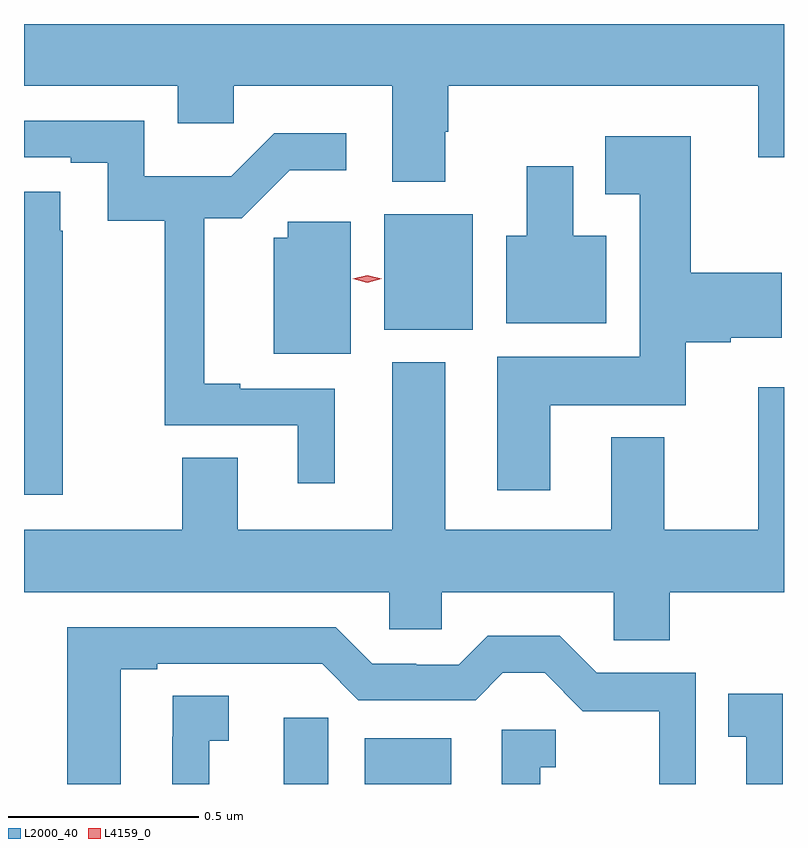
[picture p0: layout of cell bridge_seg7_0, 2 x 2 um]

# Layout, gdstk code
import gdstk
lib = gdstk.Library(unit=1e-6, precision=1e-09)
def R(c, l, rs):  # rectangles x0, y0, x1, y1
    for r in rs: c.add(gdstk.rectangle(r[:2], r[2:], *l))
def P(c, l, *ps):  # polygons
    for p in ps: c.add(gdstk.Polygon(p, *l))
L2000_40 = (2000, 40)
L4159_0 = (4159, 0)

bridge_seg7_0 = lib.new_cell('bridge_seg7_0')
R(bridge_seg7_0, L2000_40, [(1098.824,1038.739,1098.94,1038.913), (1099.037,1038.739,1099.264,1038.859), (1099.088,1039.934,1099.321,1040.239)])
P(bridge_seg7_0, L2000_40, [(1099.249,1040.456),(1099.257,1040.456),(1099.257,1040.576),(1100.072,1040.576),(1100.072,1040.388),(1100.14,1040.388),(1100.14,1040.739),(1098.14,1040.739),(1098.14,1040.576),(1098.545,1040.576),(1098.545,1040.478),(1098.692,1040.478),(1098.692,1040.576),(1099.109,1040.576),(1099.109,1040.324),(1099.249,1040.324)],
  [(1098.958,1039.779),(1098.709,1039.779),(1098.709,1039.792),(1098.614,1039.792),(1098.614,1040.228),(1098.713,1040.228),(1098.839,1040.354),(1098.988,1040.354),(1098.988,1040.451),(1098.798,1040.451),(1098.685,1040.338),(1098.456,1040.338),(1098.456,1040.484),(1098.14,1040.484),(1098.14,1040.388),(1098.263,1040.388),(1098.263,1040.374),(1098.36,1040.374),(1098.36,1040.221),(1098.511,1040.221),(1098.511,1039.683),(1098.86,1039.683),(1098.86,1039.53),(1098.958,1039.53)],
  [(1099.525,1039.736),(1099.882,1039.736),(1099.882,1039.901),(1100,1039.901),(1100,1039.913),(1100.134,1039.913),(1100.134,1040.084),(1099.895,1040.084),(1099.895,1040.443),(1099.67,1040.443),(1099.67,1040.291),(1099.76,1040.291),(1099.76,1039.864),(1099.385,1039.864),(1099.385,1039.512),(1099.525,1039.512)],
  [(1099.672,1040.182),(1099.585,1040.182),(1099.585,1040.365),(1099.463,1040.365),(1099.463,1040.182),(1099.409,1040.182),(1099.409,1039.952),(1099.672,1039.952)],
  [(1098.242,1040.195),(1098.236,1040.195),(1098.236,1040.297),(1098.14,1040.297),(1098.14,1039.5),(1098.242,1039.5)],
  [(1099,1040.218),(1098.834,1040.218),(1098.834,1040.176),(1098.797,1040.176),(1098.797,1039.871),(1099,1039.871)],
  [(1099.839,1039.244),(1100.14,1039.244),(1100.14,1039.783),(1100.072,1039.783),(1100.072,1039.408),(1099.825,1039.408),(1099.825,1039.651),(1099.685,1039.651),(1099.685,1039.408),(1099.249,1039.408),(1099.249,1039.849),(1099.109,1039.849),(1099.109,1039.408),(1098.703,1039.408),(1098.703,1039.598),(1098.556,1039.598),(1098.556,1039.408),(1098.14,1039.408),(1098.14,1039.244),(1099.101,1039.244),(1099.101,1039.146),(1099.239,1039.146),(1099.239,1039.244),(1099.692,1039.244),(1099.692,1039.117),(1099.839,1039.117)],
  [(1098.394,1039.041),(1098.49,1039.041),(1098.49,1039.056),(1098.821,1039.056),(1098.821,1039.055),(1098.925,1039.055),(1099.02,1038.96),(1099.329,1038.96),(1099.4,1039.032),(1099.51,1039.032),(1099.61,1038.931),(1099.812,1038.931),(1099.812,1038.739),(1099.908,1038.739),(1099.908,1039.032),(1099.647,1039.032),(1099.55,1039.129),(1099.36,1039.129),(1099.284,1039.053),(1099.172,1039.053),(1099.172,1039.056),(1099.056,1039.056),(1098.96,1039.152),(1098.254,1039.152),(1098.254,1038.739),(1098.394,1038.739)],
  [(1100.137,1038.976),(1099.993,1038.976),(1099.993,1038.863),(1100.04,1038.863),(1100.04,1038.739),(1100.137,1038.739)],
  [(1098.627,1038.853),(1098.679,1038.853),(1098.679,1038.971),(1098.531,1038.971),(1098.531,1038.863),(1098.53,1038.863),(1098.53,1038.739),(1098.627,1038.739)],
  [(1099.498,1038.783),(1099.539,1038.783),(1099.539,1038.882),(1099.397,1038.882),(1099.397,1038.739),(1099.498,1038.739)])
P(bridge_seg7_0, L4159_0, [(1099.043,1040.058),(1099.005,1040.068),(1099.005,1040.068),(1099.005,1040.068),(1099.043,1040.078),(1099.082,1040.068),(1099.082,1040.068),(1099.082,1040.068)])

lib.write_gds('bridge_seg7_0.gds')
